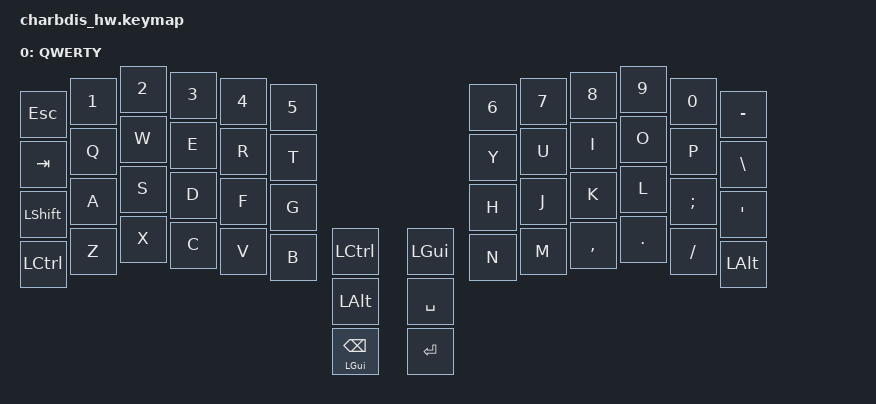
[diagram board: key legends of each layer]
#include <behaviors.dtsi>
#include <dt-bindings/zmk/keys.h>

/ {
    keymap {
        compatible = "zmk,keymap";

        default_layer {
            display-name = "QWERTY";
            // ┌──────┬──────┬──────┬──────┬──────┬──────┐                         ┌──────┬──────┬──────┬──────┬──────┬──────┐
            // │ ESC  │  1   │  2   │  3   │  4   │  5   │                         │  6   │  7   │  8   │  9   │  0   │  -   │
            // ├──────┼──────┼──────┼──────┼──────┼──────┼──────┬──────┐ ┌──────────┼──────┼──────┼──────┼──────┼──────┼──────┤
            // │ TAB  │  Q   │  W   │  E   │  R   │  T   │ LCTL │ LGUI │ │  Y       │  U   │  I   │  O   │  P   │  \   │
            // ├──────┼──────┼──────┼──────┼──────┼──────┼──────┼──────┤ ├──────────┼──────┼──────┼──────┼──────┼──────┼──────┤
            // │ LSFT │  A   │  S   │  D   │  F   │  G   │ LALT │ SPC  │ │  H       │  J   │  K   │  L   │  ;   │  '   │
            // ├──────┼──────┼──────┼──────┼──────┼──────┼──────┼──────┤ ├──────────┼──────┼──────┼──────┼──────┼──────┼──────┤
            // │ LCTL │  Z   │  X   │  C   │  V   │  B   │CMD/BS│ RET  │ │  N       │  M   │  ,   │  .   │  /   │ LALT │
            // └──────┴──────┴──────┴──────┴──────┴──────┴──────┴──────┘ └──────────┴──────┴──────┴──────┴──────┴──────┘
            bindings = <
                &kp ESC   &kp N1  &kp N2  &kp N3  &kp N4  &kp N5                                &kp N6  &kp N7     &kp N8     &kp N9   &kp N0    &kp MINUS
                &kp TAB   &kp Q   &kp W   &kp E   &kp R   &kp T   &kp LCTRL  &kp LGUI           &kp Y   &kp U      &kp I      &kp O    &kp P     &kp BSLH
                &kp LSHFT &kp A   &kp S   &kp D   &kp F   &kp G   &kp LALT   &kp SPACE          &kp H   &kp J      &kp K      &kp L    &kp SEMI  &kp SQT
                &kp LCTRL &kp Z   &kp X   &kp C   &kp V   &kp B   &mt LGUI BSPC  &kp RET        &kp N   &kp M      &kp COMMA  &kp DOT  &kp FSLH  &kp LALT
            >;
        };
    };
};
